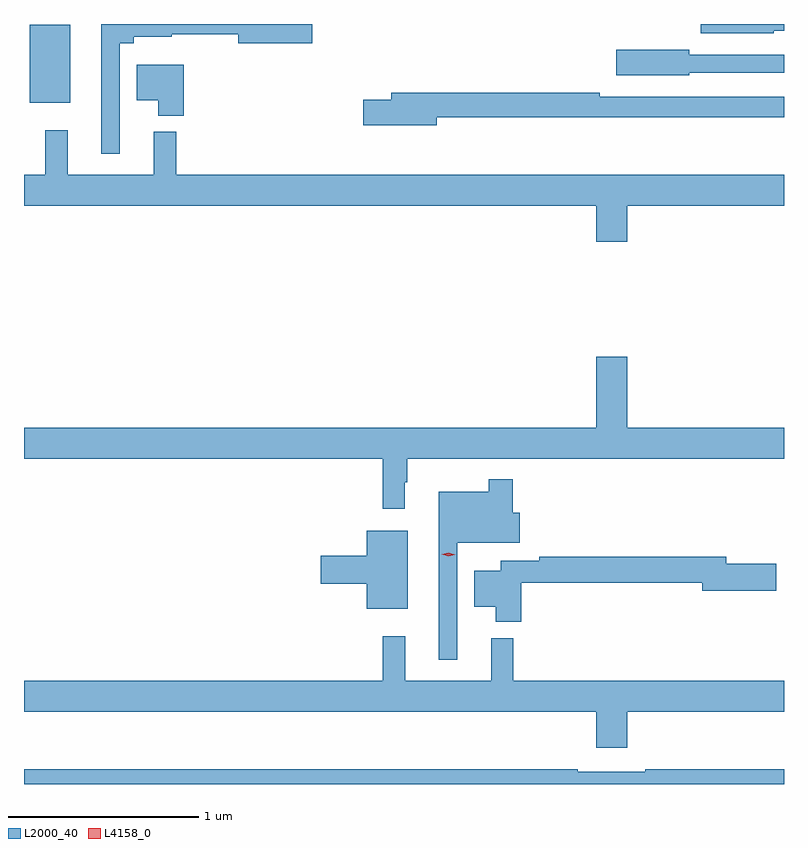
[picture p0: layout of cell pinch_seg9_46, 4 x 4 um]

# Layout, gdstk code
import gdstk
lib = gdstk.Library(unit=1e-6, precision=1e-09)
def R(c, l, rs):  # rectangles x0, y0, x1, y1
    for r in rs: c.add(gdstk.rectangle(r[:2], r[2:], *l))
def P(c, l, *ps):  # polygons
    for p in ps: c.add(gdstk.Polygon(p, *l))
L2000_40 = (2000, 40)
L4158_0 = (4158, 0)

pinch_seg9_46 = lib.new_cell('pinch_seg9_46')
R(pinch_seg9_46, L2000_40, [(977.21,1230.263,977.425,1230.673)])
P(pinch_seg9_46, L2000_40, [(981.126,1230.642),(981.181,1230.642),(981.181,1230.677),(980.742,1230.677),(980.742,1230.629),(981.126,1230.629)],
  [(977.685,1230.575),(977.759,1230.575),(977.759,1230.611),(977.959,1230.611),(977.959,1230.622),(978.308,1230.622),(978.308,1230.575),(978.697,1230.575),(978.697,1230.677),(977.588,1230.677),(977.588,1229.994),(977.685,1229.994)],
  [(980.682,1230.42),(981.181,1230.42),(981.181,1230.516),(980.682,1230.516),(980.682,1230.542),(980.298,1230.542),(980.298,1230.407),(980.682,1230.407)],
  [(978.023,1230.463),(977.774,1230.463),(977.774,1230.275),(977.888,1230.275),(977.888,1230.194),(978.023,1230.194)],
  [(979.354,1230.186),(981.181,1230.186),(981.181,1230.294),(980.21,1230.294),(980.21,1230.314),(979.115,1230.314),(979.115,1230.278),(978.966,1230.278),(978.966,1230.143),(979.354,1230.143)],
  [(980.356,1229.72),(981.181,1229.72),(981.181,1229.884),(977.981,1229.884),(977.981,1230.109),(977.864,1230.109),(977.864,1229.884),(977.411,1229.884),(977.411,1230.118),(977.293,1230.118),(977.293,1229.884),(977.181,1229.884),(977.181,1229.72),(980.192,1229.72),(980.192,1229.532),(980.356,1229.532)],
  [(979.186,1228.265),(979.198,1228.265),(979.198,1228.388),(981.181,1228.388),(981.181,1228.552),(980.356,1228.552),(980.356,1228.927),(980.192,1228.927),(980.192,1228.552),(977.181,1228.552),(977.181,1228.388),(979.069,1228.388),(979.069,1228.125),(979.186,1228.125)],
  [(979.461,1227.947),(979.789,1227.947),(979.789,1228.105),(979.754,1228.105),(979.754,1228.282),(979.626,1228.282),(979.626,1228.216),(979.364,1228.216),(979.364,1227.33),(979.461,1227.33)],
  [(979.201,1228.009),(978.986,1228.009),(978.986,1227.878),(978.744,1227.878),(978.744,1227.731),(978.986,1227.731),(978.986,1227.599),(979.201,1227.599)],
  [(979.799,1227.736),(980.75,1227.736),(980.75,1227.694),(981.139,1227.694),(981.139,1227.836),(980.878,1227.836),(980.878,1227.872),(979.892,1227.872),(979.892,1227.852),(979.689,1227.852),(979.689,1227.799),(979.55,1227.799),(979.55,1227.611),(979.664,1227.611),(979.664,1227.53),(979.799,1227.53)],
  [(980.356,1227.056),(981.181,1227.056),(981.181,1227.22),(979.757,1227.22),(979.757,1227.445),(979.64,1227.445),(979.64,1227.22),(979.187,1227.22),(979.187,1227.454),(979.069,1227.454),(979.069,1227.22),(977.181,1227.22),(977.181,1227.056),(980.192,1227.056),(980.192,1226.868),(980.356,1226.868)],
  [(981.181,1226.755),(980.452,1226.755),(980.452,1226.742),(980.096,1226.742),(980.096,1226.755),(977.181,1226.755),(977.181,1226.677),(981.181,1226.677)])
P(pinch_seg9_46, L4158_0, [(979.415,1227.875),(979.38,1227.886),(979.379,1227.886),(979.38,1227.886),(979.416,1227.895),(979.451,1227.884),(979.451,1227.884),(979.451,1227.883)])

lib.write_gds('pinch_seg9_46.gds')
